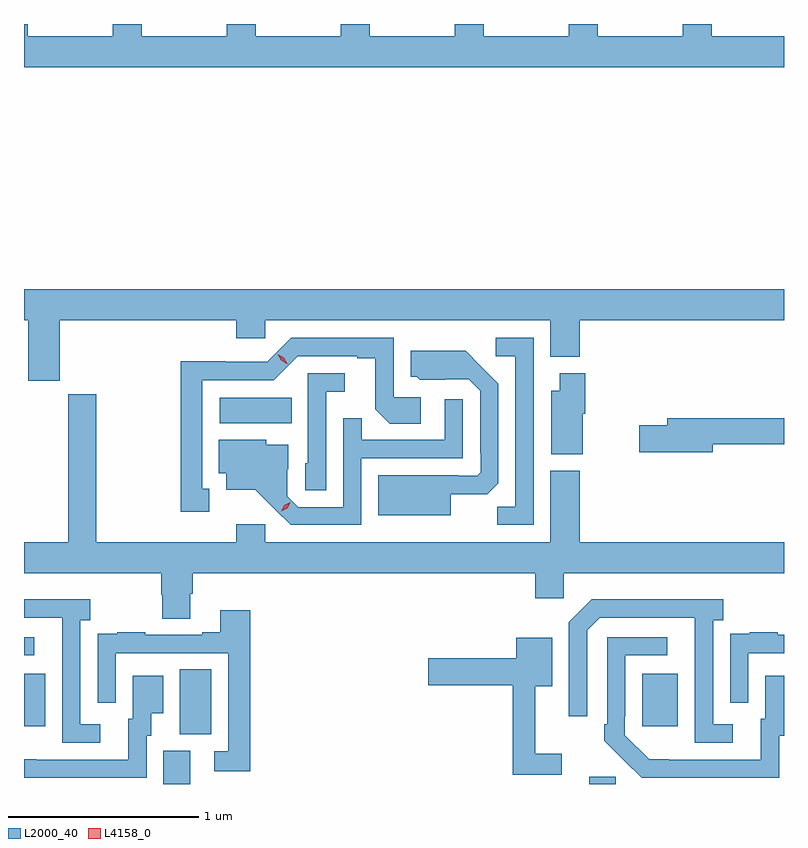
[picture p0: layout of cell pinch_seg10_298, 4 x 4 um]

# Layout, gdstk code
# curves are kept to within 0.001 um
import gdstk
lib = gdstk.Library(unit=1e-6, precision=1e-09)
def R(c, l, rs):  # rectangles x0, y0, x1, y1
    for r in rs: c.add(gdstk.rectangle(r[:2], r[2:], *l))
def P(c, l, *ps):  # polygons
    for p in ps: c.add(gdstk.Polygon(p, *l))
L2000_40 = (2000, 40)
L4158_0 = (4158, 0)

pinch_seg10_298 = lib.new_cell('pinch_seg10_298')
R(pinch_seg10_298, L2000_40, [(406.367,1304.536,406.507,1304.712), (408.608,1304.536,408.747,1304.574), (406.454,1304.797,406.618,1305.14), (405.633,1304.841,405.745,1305.115), (408.887,1304.841,409.075,1305.115), (405.633,1305.213,405.688,1305.309), (406.662,1306.436,407.042,1306.57)])
P(pinch_seg10_298, L2000_40, [(409.633,1308.472),(409.254,1308.472),(409.254,1308.536),(409.099,1308.536),(409.099,1308.472),(408.654,1308.472),(408.654,1308.536),(408.499,1308.536),(408.499,1308.472),(408.054,1308.472),(408.054,1308.536),(407.899,1308.536),(407.899,1308.472),(407.454,1308.472),(407.454,1308.536),(407.299,1308.536),(407.299,1308.472),(406.854,1308.472),(406.854,1308.536),(406.699,1308.536),(406.699,1308.472),(406.254,1308.472),(406.254,1308.536),(406.099,1308.536),(406.099,1308.472),(405.654,1308.472),(405.654,1308.536),(405.633,1308.536),(405.633,1308.308),(409.633,1308.308)],
  [(405.82,1306.976),(406.751,1306.976),(406.751,1306.883),(406.902,1306.883),(406.902,1306.976),(408.404,1306.976),(408.404,1306.784),(408.557,1306.784),(408.557,1306.976),(409.633,1306.976),(409.633,1307.14),(405.633,1307.14),(405.633,1306.976),(405.656,1306.976),(405.656,1306.659),(405.82,1306.659)],
  [(406.609,1306.089),(406.57,1306.089),(406.57,1306.662),(406.947,1306.662),(407.073,1306.788),(407.387,1306.788),(407.387,1306.776),(407.481,1306.776),(407.481,1306.508),(407.557,1306.432),(407.722,1306.432),(407.722,1306.572),(407.58,1306.572),(407.58,1306.884),(407.04,1306.884),(406.914,1306.758),(406.692,1306.758),(406.692,1306.76),(406.459,1306.76),(406.459,1305.969),(406.609,1305.969)],
  [(408.315,1306.884),(408.117,1306.884),(408.117,1306.788),(408.219,1306.788),(408.219,1305.995),(408.124,1305.995),(408.124,1305.9),(408.315,1305.9)],
  [(407.878,1306.061),(408.07,1306.061),(408.129,1306.12),(408.129,1306.642),(407.957,1306.816),(407.669,1306.816),(407.669,1306.68),(407.7,1306.68),(407.716,1306.664),(407.973,1306.665),(408.033,1306.605),(408.033,1306.276),(408.036,1306.276),(408.036,1306.176),(408.018,1306.158),(407.918,1306.158),(407.918,1306.162),(407.498,1306.162),(407.498,1305.95),(407.878,1305.95)],
  [(408.574,1306.485),(408.587,1306.485),(408.587,1306.699),(408.452,1306.699),(408.452,1306.606),(408.407,1306.606),(408.407,1306.271),(408.574,1306.271)],
  [(407.223,1306.601),(407.32,1306.601),(407.32,1306.698),(407.127,1306.698),(407.127,1306.224),(407.112,1306.224),(407.112,1306.081),(407.223,1306.081)],
  [(406.507,1305.538),(406.52,1305.538),(406.52,1305.644),(408.323,1305.644),(408.323,1305.513),(408.474,1305.513),(408.474,1305.644),(409.633,1305.644),(409.633,1305.808),(408.557,1305.808),(408.557,1306.186),(408.404,1306.186),(408.404,1305.808),(406.902,1305.808),(406.902,1305.904),(406.751,1305.904),(406.751,1305.808),(406.014,1305.808),(406.014,1306.587),(405.866,1306.587),(405.866,1305.808),(405.633,1305.808),(405.633,1305.644),(406.355,1305.644),(406.355,1305.531),(406.36,1305.531),(406.36,1305.406),(406.507,1305.406)],
  [(407.409,1306.251),(407.943,1306.251),(407.943,1306.561),(407.847,1306.561),(407.847,1306.347),(407.411,1306.347),(407.411,1306.46),(407.313,1306.46),(407.313,1305.993),(407.076,1305.993),(407.019,1306.05),(407.019,1306.192),(407.023,1306.192),(407.023,1306.321),(406.908,1306.321),(406.908,1306.348),(406.658,1306.348),(406.658,1306.172),(406.697,1306.172),(406.697,1306.085),(406.849,1306.085),(407.036,1305.9),(407.409,1305.9)],
  [(409.258,1306.324),(409.633,1306.324),(409.633,1306.46),(409.019,1306.46),(409.019,1306.424),(408.87,1306.424),(408.87,1306.282),(409.258,1306.282)],
  [(409.363,1304.85),(409.26,1304.85),(409.26,1305.398),(409.312,1305.398),(409.312,1305.508),(408.622,1305.508),(408.501,1305.387),(408.501,1304.892),(408.597,1304.892),(408.597,1305.345),(408.663,1305.411),(409.163,1305.411),(409.164,1304.754),(409.363,1304.754)],
  [(406.033,1304.85),(405.93,1304.85),(405.93,1305.398),(405.982,1305.398),(405.982,1305.508),(405.633,1305.508),(405.633,1305.411),(405.833,1305.411),(405.833,1305.211),(405.834,1305.211),(405.834,1304.754),(406.033,1304.754)],
  [(406.823,1305.451),(406.667,1305.451),(406.667,1305.334),(406.571,1305.334),(406.571,1305.321),(406.271,1305.321),(406.271,1305.334),(406.123,1305.334),(406.123,1305.327),(406.021,1305.327),(406.021,1305.218),(406.02,1305.218),(406.02,1304.964),(406.116,1304.964),(406.116,1305.225),(406.707,1305.225),(406.707,1304.709),(406.635,1304.709),(406.635,1304.604),(406.823,1304.604)],
  [(409.446,1305.225),(409.633,1305.225),(409.633,1305.321),(409.601,1305.321),(409.601,1305.334),(409.453,1305.334),(409.453,1305.327),(409.351,1305.327),(409.351,1305.218),(409.35,1305.218),(409.35,1304.964),(409.446,1304.964)],
  [(409.608,1304.79),(409.633,1304.79),(409.633,1305.106),(409.535,1305.106),(409.535,1304.88),(409.511,1304.88),(409.511,1304.664),(408.924,1304.665),(408.795,1304.793),(408.795,1304.893),(408.798,1304.893),(408.798,1305.213),(409.018,1305.213),(409.018,1305.309),(408.702,1305.309),(408.702,1304.851),(408.687,1304.851),(408.687,1304.763),(408.884,1304.568),(409.608,1304.568)],
  [(408.463,1304.695),(408.323,1304.695),(408.323,1305.05),(408.412,1305.05),(408.412,1305.307),(408.224,1305.307),(408.224,1305.198),(407.76,1305.198),(407.76,1305.056),(408.205,1305.056),(408.205,1304.586),(408.463,1304.586)],
  [(406.278,1304.79),(406.303,1304.79),(406.303,1304.909),(406.366,1304.909),(406.366,1305.106),(406.205,1305.106),(406.205,1304.88),(406.181,1304.88),(406.181,1304.664),(405.697,1304.664),(405.697,1304.665),(405.633,1304.665),(405.633,1304.568),(406.278,1304.568)])
P(pinch_seg10_298, L4158_0, [(406.987,1305.972),(406.987,1305.972),(407.004,1306.002),(407.035,1306.018),(407.035,1306.018),(407.035,1306.017),(407.018,1305.987),(406.987,1305.972)],
  [(407.018,1306.746),(406.986,1306.765),(406.968,1306.797),(406.968,1306.798),(406.968,1306.798),(407,1306.779),(407.018,1306.747),(407.018,1306.746)])

lib.write_gds('pinch_seg10_298.gds')
